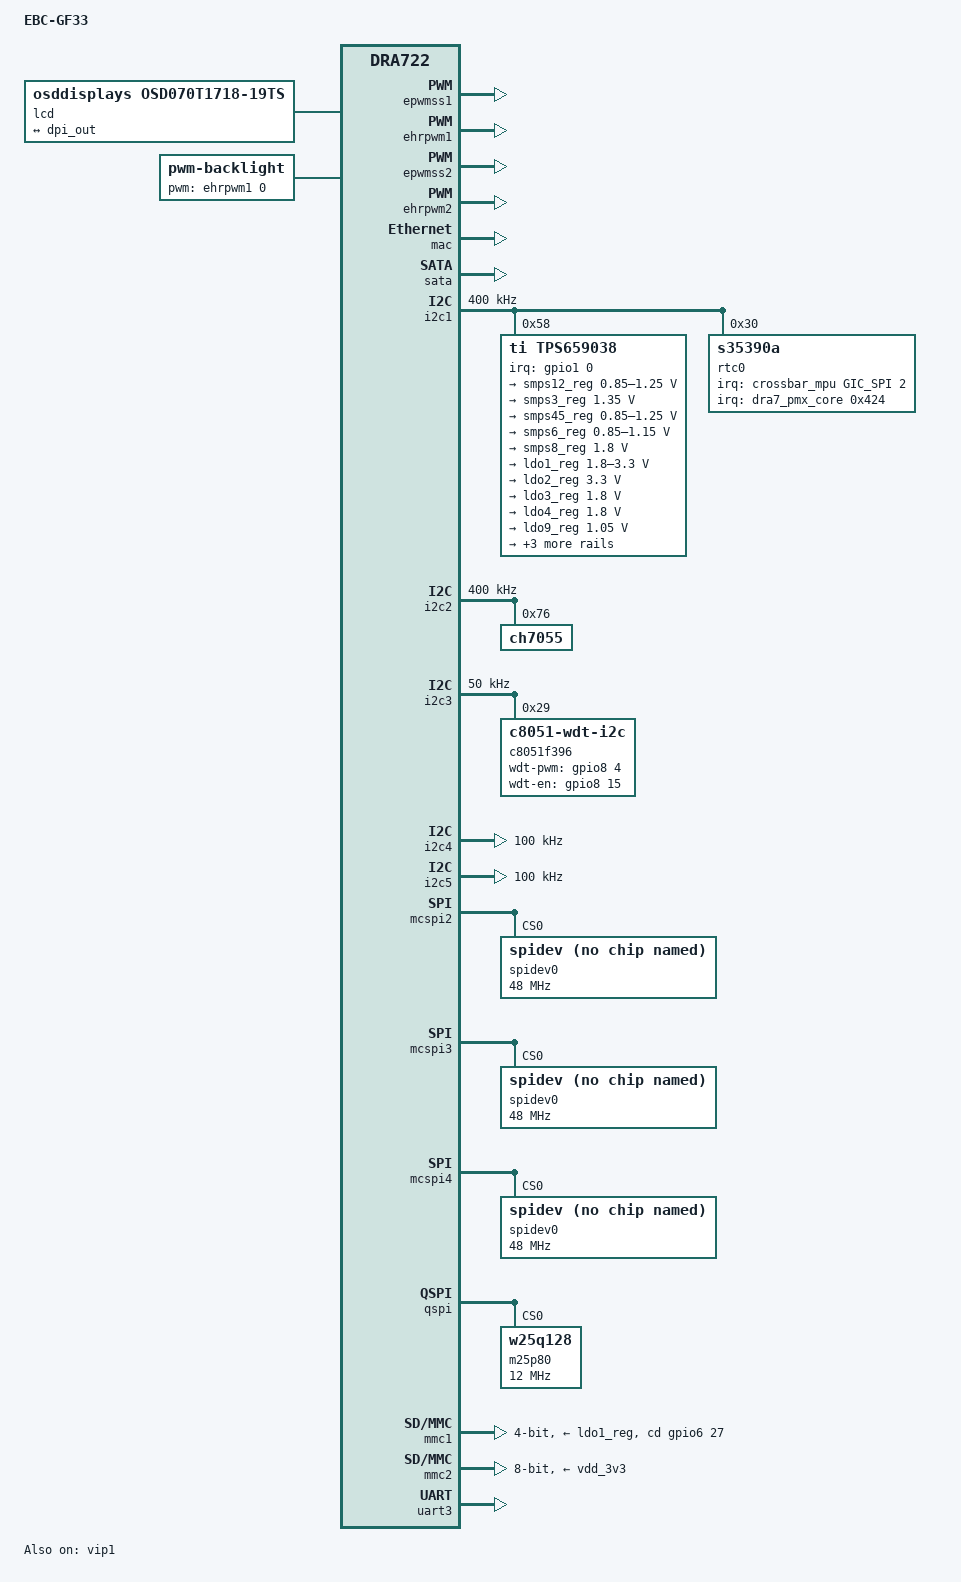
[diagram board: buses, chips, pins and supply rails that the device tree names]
/*
 * Copyright (C) 2015 Texas Instruments Incorporated - http://www.ti.com/
 *
 * This program is free software; you can redistribute it and/or modify
 * it under the terms of the GNU General Public License version 2 as
 * published by the Free Software Foundation.
 */

#include "am5718-common.dtsi"
#include <dt-bindings/gpio/gpio.h>
#include <dt-bindings/input/input.h>

/ {
	model = "EBC-GF33";
	compatible = "ti,am5718-gf33", "ti,am5718", "ti,dra722", "ti,dra72", "ti,dra7";

	aliases {
		display0 = &lcd0;
		rtc0 = &rtc0;
		serial4 = &uart6;
		serial5 = &uart5;
	};

	reserved-memory {
		#address-cells = <2>;
		#size-cells = <2>;
		ranges;

		ipu2_cma_pool: ipu2_cma@95800000 {
			compatible = "shared-dma-pool";
			reg = <0x0 0x95800000 0x0 0x3800000>;
			reusable;
			status = "okay";
		};

		dsp1_cma_pool: dsp1_cma@99000000 {
			compatible = "shared-dma-pool";
			reg = <0x0 0x99000000 0x0 0x4000000>;
			reusable;
			status = "okay";
		};

		ipu1_cma_pool: ipu1_cma@9d000000 {
			compatible = "shared-dma-pool";
			reg = <0x0 0x9d000000 0x0 0x2000000>;
			reusable;
			status = "okay";
		};

		cmem_block_mem_0: cmem_block_mem@a0000000 {
			reg = <0x0 0xa0000000 0x0 0x0c000000>;
			no-map;
			status = "okay";
		};

		/* Reserved the 512M for shared iobuf,Just for GF33.
		   You can remove it on other project.	
		*/	
		cmem_block_mem_1: cmem_block_mem@c0000000 {
			reg = <0x0 0xc0000000 0x0 0x20000000>;
			no-map;
			status = "okay";
		};
	};

	cmem {
		compatible = "ti,cmem";
		#address-cells = <1>;
		#size-cells = <0>;
		#pool-size-cells = <2>;
		status = "okay";

		cmem_block_0: cmem_block@0 {
			reg = <0>;
			memory-region = <&cmem_block_mem_0>;
			cmem-buf-pools = <1 0x0 0x0c000000>;
		};

		cmem_block_1: cmem_block@1 {
			reg = <1>;
			memory-region = <&cmem_block_mem_1>;
			cmem-buf-pools = <1 0x0 0x20000000>;
		};	
	};

	/*
	* LCD Pannel Setting 
	*/
	lcd0: display {
		compatible = "osddisplays,osd070t1718-19ts", "panel-dpi";

		label = "lcd";

		/* enable-gpios = <&gpio2 5 GPIO_ACTIVE_HIGH>;*/

		panel-timing {
			clock-frequency = <65000000>;
			hactive = <1024>;
			vactive = <768>;
			hfront-porch = <24>;
			hback-porch = <160>;
			hsync-len = <136>;
			vback-porch = <29>;
			vfront-porch = <3>;
			vsync-len = <6>;
			hsync-active = <0>;
			vsync-active = <0>;
			de-active = <1>;
			pixelclk-active = <1>;
		};

		port {
			lcd_in: endpoint {
				remote-endpoint = <&dpi_out>;
			};
		};
	};

	/*
	* LCD Backlight.
	*/
	backlight {
		compatible = "pwm-backlight";
		pwms = <&ehrpwm1 0 50000 0>;

		/* Anything lower than 241 is no longer visible */
		brightness-levels = <0 243 245 247 249 251 252 253 255>;

		default-brightness-level = <8>;
		/* we provide a physical power-supply for backlight!
		* So, the power-supply propety is not needed!		
		*/
	};

	gpio_keys {
		compatible = "gpio-keys";
		#address-cells = <1>;
		#size-cells = <0>;
		status = "disabled";

		powerbtn {
			label = "powerbtn";
			linux,code = <KEY_POWER>;
			gpios = <&gpio8 5 GPIO_ACTIVE_LOW>;
		};
	};
};

/*
* Display subsystem remote endport.
*/
&dss {
	ports {
		#address-cells = <1>;
		#size-cells = <0>;

		port {
			reg = <2>;

			dpi_out: endpoint {
				remote-endpoint = <&lcd_in>;
				data-lines = <24>;
			};
		};
	};
};

/*
* Video input port.
* vin1a & vin3a is enabled.
*/
/* Enable VIP module! */
&vip1 {
	status = "okay";
};

/* Binding the port. */
&vin1a {
	status = "disabled";
	endpoint {
		slave-mode;
		bus-width = <8>;	/* Used data lines */
		/*remote-endpoint = <&cam>;*/
	};
};
&vin2a {
	status = "disabled";
	endpoint {
		slave-mode;
		bus-width = <8>;	/* Used data lines */
		/*remote-endpoint = <&cam>;*/
	};
};

/*
* ehrPWM 2&3 module.
*/
&epwmss1 {
	status = "okay";
};
&ehrpwm1 {
	status = "okay";
};

&epwmss2 {
	status = "okay";
};
&ehrpwm2 {
	status = "okay";
};

/* 
* Ethernet: 1 emac
*/
&mac {
	status = "okay";
	/delete-property/ dual_emac;
};

&cpsw_emac0 {
	phy_id = <&davinci_mdio>, <6>;
	force-100M-mode;
};

/* 
* Enable sata
*/
&sata {
	status = "okay";
};

/*
* I2C bus configuration 1-5; 
*/
&i2c1 {
	status = "okay";
	clock-frequency = <400000>;

	tps659038: tps659038@58 {
		compatible = "ti,tps659038";
		reg = <0x58>;
		interrupt-parent = <&gpio1>;
		interrupts = <0 IRQ_TYPE_LEVEL_LOW>;

		#interrupt-cells = <2>;
		interrupt-controller;

		/****** Set all PMIC PAD reg as gpio pin *****/
		ti,mux-pad1 = <0>;
		ti,mux-pad2 = <0>;

		ti,system-power-controller;

		tps659038_pmic {
			compatible = "ti,tps659038-pmic";

			regulators {
				smps12_reg: smps12 {
					/* VDD_MPU */
					regulator-name = "smps12";
					regulator-min-microvolt = <850000>;
					regulator-max-microvolt = <1250000>;
					regulator-always-on;
					regulator-boot-on;
				};

				smps3_reg: smps3 {
					/* VDD_DDR EMIF1 EMIF2 */
					regulator-name = "smps3";
					regulator-min-microvolt = <1350000>;
					regulator-max-microvolt = <1350000>;
					regulator-always-on;
					regulator-boot-on;
				};

				smps45_reg: smps45 {
					/* VDD_DSPEVE on AM572 */
					/* VDD_IVA + VDD_DSP on AM571 */
					regulator-name = "smps45";
					regulator-min-microvolt = <850000>;
					regulator-max-microvolt = <1250000>;
					regulator-always-on;
					regulator-boot-on;
				};

				smps6_reg: smps6 {
					/* VDD_CORE */
					regulator-name = "smps6";
					regulator-min-microvolt = <850000>;
					regulator-max-microvolt = <1150000>;
					regulator-always-on;
					regulator-boot-on;
				};

				/* SMPS7 unused */

				smps8_reg: smps8 {
					/* VDD_1V8 */
					regulator-name = "smps8";
					regulator-min-microvolt = <1800000>;
					regulator-max-microvolt = <1800000>;
					regulator-always-on;
					regulator-boot-on;
				};

				/* SMPS9 unused */

				ldo1_reg: ldo1 {
					/* VDD_SD */
					regulator-name = "ldo1";
					regulator-min-microvolt = <1800000>;
					regulator-max-microvolt = <3300000>;
					regulator-boot-on;
					regulator-always-on;
				};

				ldo2_reg: ldo2 {
					/* VDD_SHV5 */
					regulator-name = "ldo2";
					regulator-min-microvolt = <3300000>;
					regulator-max-microvolt = <3300000>;
					regulator-always-on;
					regulator-boot-on;
				};

				ldo3_reg: ldo3 {
					/* VDDA_1V8_PHYA */
					regulator-name = "ldo3";
					regulator-min-microvolt = <1800000>;
					regulator-max-microvolt = <1800000>;
					regulator-always-on;
					regulator-boot-on;
				};

				ldo4_reg: ldo4 {
					/* VDDA_1V8_PHYB */
					regulator-name = "ldo4";
					regulator-min-microvolt = <1800000>;
					regulator-max-microvolt = <1800000>;
					regulator-always-on;
					regulator-boot-on;
				};

				ldo9_reg: ldo9 {
					/* VDD_RTC */
					regulator-name = "ldo9";
					regulator-min-microvolt = <1050000>;
					regulator-max-microvolt = <1050000>;
					regulator-always-on;
					regulator-boot-on;
				};

				ldoln_reg: ldoln {
					/* VDDA_1V8_PLL */
					regulator-name = "ldoln";
					regulator-min-microvolt = <1800000>;
					regulator-max-microvolt = <1800000>;
					regulator-always-on;
					regulator-boot-on;
				};

				ldousb_reg: ldousb {
					/* VDDA_3V_USB: VDDA_USBHS33 */
					regulator-name = "ldousb";
					regulator-min-microvolt = <3300000>;
					regulator-max-microvolt = <3300000>;
					regulator-boot-on;
				};

				regen1: regen1 {
					/* VDD_3V3_ON */
					regulator-name = "regen1";
					regulator-boot-on;
					regulator-always-on;
				};
			};
		};

		/*tps659038_rtc: tps659038_rtc {
			compatible = "ti,palmas-rtc";
			interrupt-parent = <&tps659038>;
			interrupts = <8 IRQ_TYPE_EDGE_FALLING>;
			wakeup-source;
		};

		tps659038_pwr_button: tps659038_pwr_button {
			compatible = "ti,palmas-pwrbutton";
			interrupt-parent = <&tps659038>;
			interrupts = <1 IRQ_TYPE_EDGE_FALLING>;
			wakeup-source;
			ti,palmas-long-press-seconds = <6>;
		};

		tps659038_gpio: tps659038_gpio {
			compatible = "ti,palmas-gpio";
			gpio-controller;
			#gpio-cells = <2>;
		};*/
	};

	rtc0: rtc@30  {
		compatible = "s35390a";
		reg = <0x30>;
		interrupts-extended = <&crossbar_mpu GIC_SPI 2 IRQ_TYPE_EDGE_RISING>,
				      <&dra7_pmx_core 0x424>;  /* GPIO interrupt*/

		wakeup-source; /* Support wakeup.*/
	};
};

/*
* I2C3 for VGA
*/
&i2c2 {
	status = "ok";
	clock-frequency = <400000>;

	ch7055: ch7055@76 {
		compatible = "ch7055";
		reg = <0x76>;
	};
};

/*
* I2C4 for C8051
*/
&i2c3 {
	status = "okay";
	clock-frequency = <50000>;

	c8051f396@29 {
		compatible = "c8051-wdt-i2c";
		reg = <0x29>;
		shutdown-time=<12>;/* 12s */
		default-enable=<1>;
		wdt-pwm = <&gpio8 4 GPIO_ACTIVE_HIGH>;
		wdt-en = <&gpio8 15 GPIO_ACTIVE_HIGH>;
	};
};

&i2c4 {
	status = "okay";
	clock-frequency = <100000>;	
};
&i2c5 {
	status = "okay";
	clock-frequency = <100000>;	
};

/*
* MCSPI interface. 3 port,
*/
&mcspi2 {
	status = "okay";
	/* Please insert your slave device at there.*/
	spidev0 {
		compatible = "spidev";
		reg = <0>;
		spi-max-frequency = <48000000>;
	};
};

&mcspi3 {
	status = "okay";
	spidev0 {
	 	compatible = "spidev";
		reg = <0>;
		spi-max-frequency = <48000000>;
	};
};

&mcspi4 {
	status = "okay";
	spidev0 {
	 	compatible = "spidev";
		reg = <0>;
		spi-max-frequency = <48000000>;
	};
};

/*
* QSPI flash
*/
&qspi {
	status = "okay";
	spi-max-frequency = <12000000>;

	/* W25Q32FVSSIG SPI Flash*/
	m25p80@0 {
		compatible = "w25q128";
		spi-max-frequency = <12000000>;
		reg = <0>;	/* CS address. */
		spi-tx-bus-width = <1>;
		spi-rx-bus-width = <4>;
		spi-cpol;
		spi-cpha;
	};
};

/*
* eMMC SD & Nand!
*/
&mmc1 {
	status = "okay";

	vmmc-supply = <&ldo1_reg>;
	bus-width = <4>;
	cd-gpios = <&gpio6 27 0>; /* gpio 219 */
	max-frequency = <96000000>;
	/delete-property/ sd-uhs-sdr104;
	/delete-property/ sd-uhs-sdr50;
	/delete-property/ sd-uhs-ddr50;
	/delete-property/ sd-uhs-sdr25;
	/delete-property/ sd-uhs-sdr12;
};

&mmc2 {
	status = "okay";

	vmmc-supply = <&vdd_3v3>;
	bus-width = <8>;
	ti,non-removable;
	cap-mmc-dual-data-rate;
	max-frequency = <96000000>;
	no-1-8-v;
	/delete-property/ mmc-hs200-1_8v;
};

/*
* uart
*/
&uart3 {
	status = "okay";
	interrupts-extended = <&crossbar_mpu GIC_SPI 69 IRQ_TYPE_LEVEL_HIGH>,
			      <&dra7_pmx_core 0x3f8>;
};

&aes2{
	/* Let's disable the fuking aes module. */
	status = "disabled";

};

&wdt2 {
	status = "disabled";
};

&gpio8 {
     ti,no-reset-on-init;
     ti,no-idle-on-init;
};
